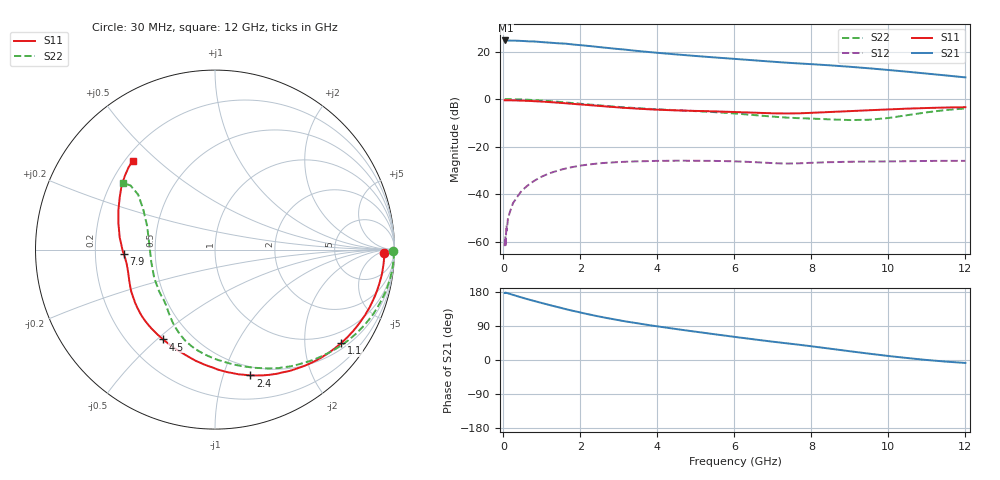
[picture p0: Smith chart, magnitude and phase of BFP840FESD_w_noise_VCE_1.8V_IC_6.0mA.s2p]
! Infineon Technologies  Discrete & RF Semiconductors
! BFP840FESD
! VCE =  1.8 V,  IC =  6.0 mA
! Common Emitter S-Parameters:  May 2012
# GHz  S  MA  R  50
!  f  S11  S21  S12  S22
! GHz  MAG  ANG  MAG  ANG  MAG  ANG  MAG  ANG
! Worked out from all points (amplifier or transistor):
!   103 points, 30 MHz to 12 GHz, reference 50 ohm
!   highest |S21| = 24.7 dB at 50 MHz (marker M1)
!   |S21| within 3 dB of that: start of sweep to 2.614 GHz
!   unconditionally stable (mu >= 1): 6.896 GHz to end of sweep
!   at 400 MHz: K = 0.05, MSG = 32.4 dB, |S12| = -40.3 dB
!   at 3.7 GHz: K = 0.39, MSG = 23.0 dB, |S12| = -26.1 dB
!   at 12 GHz: K = 1.23, MAG = 14.7 dB, |S12| = -26.0 dB
!   lowest NFmin = 0.57 dB at 450 MHz
!   S11 on the Smith chart (normalised r, x): 30 MHz: 32, -9; 1.1 GHz: 0.65, -2.90; 2.4 GHz: 0.41, -1.23; 4.5 GHz: 0.35, -0.52; 7.9 GHz: 0.32, -0.02; 12 GHz: 0.23, +0.42
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0.03  0.9436 -1.0  17.09 176.7  0.0008 68.3  0.9937 -0.6
0.04  0.9441 -1.3  17.09 176.6  0.0012 85.1  0.9947 -0.9
0.05  0.943 -1.7  17.16 177.9  0.0013 105.1  0.9958 -1.1
0.06  0.9426 -2.1  17.11 177.6  0.0008 52.3  0.9955 -1.4
0.08  0.943 -2.8  17.15 177.0  0.0022 95.8  0.9971 -2.0
0.25  0.9398 -8.6  17.03 171.9  0.0065 82.3  0.9929 -7.0
0.6  0.9197 -20.4  16.54 161.2  0.0145 75.9  0.9701 -16.7
0.8  0.903 -27.0  16.33 155.7  0.019 71.2  0.9521 -22.1
1.1  0.8751 -36.5  15.62 147.7  0.0254 64.9  0.9183 -30.1
1.6  0.818 -52.3  14.76 134.7  0.0343 54.6  0.8521 -42.9
2.1  0.7607 -66.5  13.43 123.0  0.0407 45.3  0.785 -55.1
2.4  0.7283 -74.3  12.68 116.5  0.0436 40.1  0.7491 -61.8
3.2  0.6496 -93.4  10.9 101.4  0.048 30.1  0.6656 -77.0
4.1  0.5944 -112.0  9.28 87.3  0.0501 22.0  0.6049 -91.0
4.5  0.5783 -120.0  8.706 81.5  0.0504 19.2  0.5836 -96.4
5.3  0.5559 -134.4  7.74 70.5  0.0501 14.4  0.541 -106.4
6.1  0.5305 -148.1  6.935 59.7  0.0485 10.9  0.4904 -116.2
7.9  0.5097 -177.5  5.493 37.5  0.0452 15.0  0.3908 -141.5
8.5  0.5356 172.6  5.125 29.7  0.047 15.4  0.3734 -155.1
9.5  0.5823 157.5  4.448 16.7  0.0484 15.0  0.3669 175.7
10.5  0.6298 145.8  3.763 5.1  0.0492 15.8  0.4601 150.5
12  0.6751 132.8  2.863 -7.8  0.0501 18.4  0.635 144.1
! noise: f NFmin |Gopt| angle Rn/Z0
0.45  0.57  0.47  5  0.16
0.9  0.61  0.46  12  0.17
1.5  0.62  0.41  18  0.16
1.9  0.63  0.37  27  0.16
2.4  0.65  0.36  33  0.17
3.5  0.67  0.34  55  0.16
5.5  0.75  0.23  93  0.12
8  0.9  0.2  151  0.11
10  1.05  0.25  -148  0.11
12  1.27  0.42  -123  0.13
